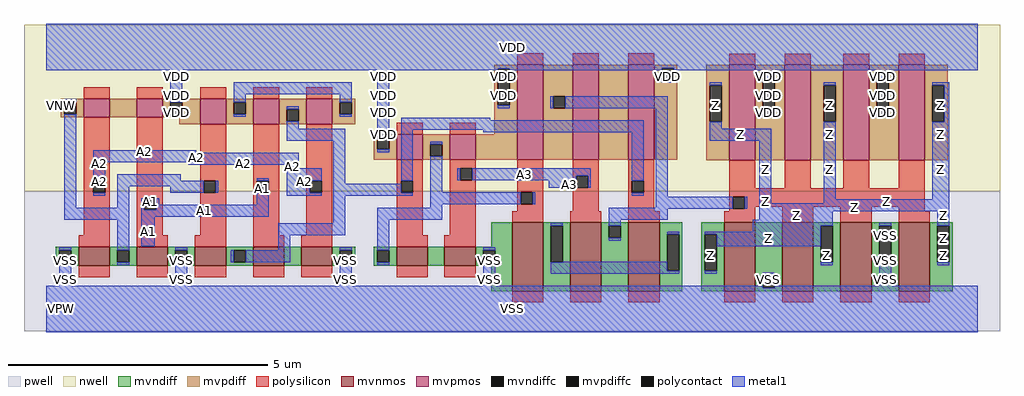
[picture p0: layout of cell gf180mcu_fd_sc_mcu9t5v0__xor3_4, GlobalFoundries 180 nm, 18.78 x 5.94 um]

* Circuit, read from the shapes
.subckt gf180mcu_fd_sc_mcu9t5v0__xor3_4 A1 A2 A3 Z VDD VNW VPW VSS
XM1 n1 A2 VSS VPW nfet_06v0 w=0.36u l=0.6u
XM2 VSS A1 n1 VPW nfet_06v0 w=0.36u l=0.6u
XM3 n2 n1 VSS VPW nfet_06v0 w=0.36u l=0.6u
XM4 n3 A1 n2 VPW nfet_06v0 w=0.36u l=0.6u
XM5 VSS A2 n3 VPW nfet_06v0 w=0.36u l=0.6u
XM6 n4 n2 n5 VPW nfet_06v0 w=0.36u l=0.6u
XM7 VSS A3 n4 VPW nfet_06v0 w=0.36u l=0.6u
XM8 n6 n5 VSS VPW nfet_06v0 w=1.32u l=0.6u
XM9 n7 A3 n6 VPW nfet_06v0 w=1.32u l=0.6u
XM10 n6 n2 n7 VPW nfet_06v0 w=1.32u l=0.6u
XM11 VSS n7 Z VPW nfet_06v0 w=1.32u l=0.6u m=4
XM12 n8 A2 n1 VNW pfet_06v0 w=0.36u l=0.5u
XM13 VDD A1 n8 VNW pfet_06v0 w=0.36u l=0.5u
XM14 n9 n1 VDD VNW pfet_06v0 w=0.495u l=0.5u
XM15 n2 A1 n9 VNW pfet_06v0 w=0.495u l=0.5u
XM16 n9 A2 n2 VNW pfet_06v0 w=0.495u l=0.5u
XM17 n5 n2 VDD VNW pfet_06v0 w=0.495u l=0.5u
XM18 VDD A3 n5 VNW pfet_06v0 w=0.495u l=0.5u
XM19 n7 n5 VDD VNW pfet_06v0 w=1.83u l=0.5u
XM20 n10 A3 n7 VNW pfet_06v0 w=1.83u l=0.5u
XM21 VDD n2 n10 VNW pfet_06v0 w=1.83u l=0.5u
XM22 VDD n7 Z VNW pfet_06v0 w=1.83u l=0.5u m=4
.ends

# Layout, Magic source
magic
tech gf180mcuD
magscale 1 10
<< nwell >>
rect -86 453 3670 1094
<< pwell >>
rect -86 -86 3670 453
<< mvnmos >>
rect 124 167 244 239
rect 348 167 468 239
rect 572 167 692 239
rect 796 167 916 239
rect 980 167 1100 239
rect 1348 167 1468 239
rect 1532 167 1652 239
rect 1792 69 1912 333
rect 2016 69 2136 333
rect 2240 69 2360 333
rect 2608 69 2728 333
rect 2832 69 2952 333
rect 3056 69 3176 333
rect 3280 69 3400 333
<< mvpmos >>
rect 144 737 244 809
rect 348 737 448 809
rect 592 710 692 809
rect 796 710 896 809
rect 1000 710 1100 809
rect 1348 574 1448 673
rect 1552 574 1652 673
rect 1812 574 1912 940
rect 2026 574 2126 940
rect 2240 574 2340 940
rect 2628 573 2728 939
rect 2842 573 2942 939
rect 3066 573 3166 939
rect 3280 573 3380 939
<< mvndiff >>
rect 1712 239 1792 333
rect 36 226 124 239
rect 36 180 49 226
rect 95 180 124 226
rect 36 167 124 180
rect 244 226 348 239
rect 244 180 273 226
rect 319 180 348 226
rect 244 167 348 180
rect 468 226 572 239
rect 468 180 497 226
rect 543 180 572 226
rect 468 167 572 180
rect 692 226 796 239
rect 692 180 721 226
rect 767 180 796 226
rect 692 167 796 180
rect 916 167 980 239
rect 1100 226 1188 239
rect 1100 180 1129 226
rect 1175 180 1188 226
rect 1100 167 1188 180
rect 1260 226 1348 239
rect 1260 180 1273 226
rect 1319 180 1348 226
rect 1260 167 1348 180
rect 1468 167 1532 239
rect 1652 226 1792 239
rect 1652 180 1681 226
rect 1727 180 1792 226
rect 1652 167 1792 180
rect 1712 69 1792 167
rect 1912 320 2016 333
rect 1912 180 1941 320
rect 1987 180 2016 320
rect 1912 69 2016 180
rect 2136 320 2240 333
rect 2136 274 2165 320
rect 2211 274 2240 320
rect 2136 69 2240 274
rect 2360 287 2448 333
rect 2360 147 2389 287
rect 2435 147 2448 287
rect 2360 69 2448 147
rect 2520 287 2608 333
rect 2520 147 2533 287
rect 2579 147 2608 287
rect 2520 69 2608 147
rect 2728 128 2832 333
rect 2728 82 2757 128
rect 2803 82 2832 128
rect 2728 69 2832 82
rect 2952 320 3056 333
rect 2952 180 2981 320
rect 3027 180 3056 320
rect 2952 69 3056 180
rect 3176 320 3280 333
rect 3176 180 3205 320
rect 3251 180 3280 320
rect 3176 69 3280 180
rect 3400 320 3488 333
rect 3400 180 3429 320
rect 3475 180 3488 320
rect 3400 69 3488 180
<< mvpdiff >>
rect 1724 924 1812 940
rect 56 796 144 809
rect 56 750 69 796
rect 115 750 144 796
rect 56 737 144 750
rect 244 737 348 809
rect 448 796 592 809
rect 448 750 477 796
rect 523 750 592 796
rect 448 737 592 750
rect 512 710 592 737
rect 692 796 796 809
rect 692 750 721 796
rect 767 750 796 796
rect 692 710 796 750
rect 896 769 1000 809
rect 896 723 925 769
rect 971 723 1000 769
rect 896 710 1000 723
rect 1100 796 1188 809
rect 1100 750 1129 796
rect 1175 750 1188 796
rect 1100 710 1188 750
rect 1724 784 1737 924
rect 1783 784 1812 924
rect 1724 673 1812 784
rect 1260 660 1348 673
rect 1260 614 1273 660
rect 1319 614 1348 660
rect 1260 574 1348 614
rect 1448 633 1552 673
rect 1448 587 1477 633
rect 1523 587 1552 633
rect 1448 574 1552 587
rect 1652 574 1812 673
rect 1912 819 2026 940
rect 1912 773 1951 819
rect 1997 773 2026 819
rect 1912 574 2026 773
rect 2126 574 2240 940
rect 2340 927 2428 940
rect 2340 881 2369 927
rect 2415 881 2428 927
rect 2340 574 2428 881
rect 2540 861 2628 939
rect 2540 721 2553 861
rect 2599 721 2628 861
rect 2540 573 2628 721
rect 2728 890 2842 939
rect 2728 750 2757 890
rect 2803 750 2842 890
rect 2728 573 2842 750
rect 2942 861 3066 939
rect 2942 721 2991 861
rect 3037 721 3066 861
rect 2942 573 3066 721
rect 3166 890 3280 939
rect 3166 750 3195 890
rect 3241 750 3280 890
rect 3166 573 3280 750
rect 3380 861 3468 939
rect 3380 721 3409 861
rect 3455 721 3468 861
rect 3380 573 3468 721
<< mvndiffc >>
rect 49 180 95 226
rect 273 180 319 226
rect 497 180 543 226
rect 721 180 767 226
rect 1129 180 1175 226
rect 1273 180 1319 226
rect 1681 180 1727 226
rect 1941 180 1987 320
rect 2165 274 2211 320
rect 2389 147 2435 287
rect 2533 147 2579 287
rect 2757 82 2803 128
rect 2981 180 3027 320
rect 3205 180 3251 320
rect 3429 180 3475 320
<< mvpdiffc >>
rect 69 750 115 796
rect 477 750 523 796
rect 721 750 767 796
rect 925 723 971 769
rect 1129 750 1175 796
rect 1737 784 1783 924
rect 1273 614 1319 660
rect 1477 587 1523 633
rect 1951 773 1997 819
rect 2369 881 2415 927
rect 2553 721 2599 861
rect 2757 750 2803 890
rect 2991 721 3037 861
rect 3195 750 3241 890
rect 3409 721 3455 861
<< polysilicon >>
rect 1812 940 1912 984
rect 2026 940 2126 984
rect 2240 940 2340 984
rect 144 809 244 853
rect 348 809 448 853
rect 592 809 692 853
rect 796 809 896 853
rect 1000 809 1100 853
rect 144 493 244 737
rect 144 447 181 493
rect 227 447 244 493
rect 144 283 244 447
rect 124 239 244 283
rect 348 427 448 737
rect 348 381 377 427
rect 423 381 448 427
rect 348 283 448 381
rect 592 493 692 710
rect 592 447 605 493
rect 651 447 692 493
rect 592 283 692 447
rect 348 239 468 283
rect 572 239 692 283
rect 796 493 896 710
rect 796 447 809 493
rect 855 447 896 493
rect 796 283 896 447
rect 1000 493 1100 710
rect 1348 673 1448 717
rect 1552 673 1652 717
rect 2628 939 2728 983
rect 2842 939 2942 983
rect 3066 939 3166 983
rect 3280 939 3380 983
rect 1000 447 1013 493
rect 1059 447 1100 493
rect 1000 283 1100 447
rect 796 239 916 283
rect 980 239 1100 283
rect 1348 493 1448 574
rect 1348 447 1365 493
rect 1411 447 1448 493
rect 1348 283 1448 447
rect 1552 541 1652 574
rect 1552 495 1593 541
rect 1639 495 1652 541
rect 1552 283 1652 495
rect 1812 449 1912 574
rect 1812 403 1825 449
rect 1871 403 1912 449
rect 1812 377 1912 403
rect 2026 512 2126 574
rect 2026 466 2039 512
rect 2085 466 2126 512
rect 2026 377 2126 466
rect 2240 493 2340 574
rect 2240 447 2253 493
rect 2299 447 2340 493
rect 2240 377 2340 447
rect 2628 465 2728 573
rect 2842 465 2942 573
rect 3066 465 3166 573
rect 3280 465 3380 573
rect 2628 432 3380 465
rect 2628 386 2641 432
rect 2687 393 3380 432
rect 2687 386 2728 393
rect 2628 377 2728 386
rect 1792 333 1912 377
rect 2016 333 2136 377
rect 2240 333 2360 377
rect 2608 333 2728 377
rect 2832 333 2952 393
rect 3056 333 3176 393
rect 3280 377 3380 393
rect 3280 333 3400 377
rect 1348 239 1468 283
rect 1532 239 1652 283
rect 124 123 244 167
rect 348 123 468 167
rect 572 123 692 167
rect 796 123 916 167
rect 980 123 1100 167
rect 1348 123 1468 167
rect 1532 123 1652 167
rect 1792 25 1912 69
rect 2016 25 2136 69
rect 2240 25 2360 69
rect 2608 25 2728 69
rect 2832 25 2952 69
rect 3056 25 3176 69
rect 3280 25 3400 69
<< polycontact >>
rect 181 447 227 493
rect 377 381 423 427
rect 605 447 651 493
rect 809 447 855 493
rect 1013 447 1059 493
rect 1365 447 1411 493
rect 1593 495 1639 541
rect 1825 403 1871 449
rect 2039 466 2085 512
rect 2253 447 2299 493
rect 2641 386 2687 432
<< metal1 >>
rect 0 927 3584 1098
rect 0 924 2369 927
rect 0 918 1737 924
rect 69 796 115 807
rect 69 390 115 750
rect 477 796 523 918
rect 477 739 523 750
rect 721 826 1175 872
rect 721 796 767 826
rect 1129 796 1175 826
rect 721 739 767 750
rect 925 769 971 780
rect 1129 739 1175 750
rect 925 693 971 723
rect 925 647 1151 693
rect 181 601 576 611
rect 181 565 972 601
rect 181 493 227 565
rect 547 555 972 565
rect 926 542 972 555
rect 181 436 227 447
rect 273 493 518 519
rect 809 493 855 504
rect 273 473 605 493
rect 273 390 319 473
rect 476 447 605 473
rect 651 447 662 493
rect 69 344 319 390
rect 49 226 95 237
rect 49 90 95 180
rect 273 226 319 344
rect 366 381 377 427
rect 423 401 434 427
rect 809 401 855 447
rect 926 493 1059 542
rect 926 447 1013 493
rect 926 436 1059 447
rect 1105 482 1151 647
rect 1273 660 1319 918
rect 1783 918 2369 924
rect 2415 918 3584 927
rect 2369 870 2415 881
rect 2757 890 2803 918
rect 2553 861 2599 872
rect 1737 773 1783 784
rect 1940 773 1951 819
rect 1997 773 2391 819
rect 1273 603 1319 614
rect 1365 727 1709 736
rect 1365 690 2299 727
rect 1365 493 1411 690
rect 1681 681 2299 690
rect 1105 447 1365 482
rect 1105 436 1411 447
rect 1477 633 1523 644
rect 1477 449 1523 587
rect 1582 541 2096 542
rect 1582 495 1593 541
rect 1639 512 2096 541
rect 1639 495 2039 512
rect 1934 466 2039 495
rect 2085 466 2096 512
rect 2253 493 2299 681
rect 423 381 855 401
rect 366 355 855 381
rect 366 242 418 355
rect 1105 329 1151 436
rect 1477 403 1825 449
rect 1871 403 1882 449
rect 2253 436 2299 447
rect 2345 432 2391 773
rect 3195 890 3241 918
rect 2757 739 2803 750
rect 2991 861 3037 872
rect 2553 693 2599 721
rect 3195 739 3241 750
rect 3409 861 3475 872
rect 2553 647 2790 693
rect 1477 390 1523 403
rect 2345 390 2641 432
rect 893 283 1151 329
rect 1273 344 1523 390
rect 2165 386 2641 390
rect 2687 386 2698 432
rect 2744 406 2790 647
rect 2991 423 3037 721
rect 3455 721 3475 861
rect 3409 423 3475 721
rect 2991 406 3475 423
rect 2165 344 2391 386
rect 2744 377 3475 406
rect 2744 344 3027 377
rect 273 169 319 180
rect 497 226 543 237
rect 893 226 939 283
rect 710 180 721 226
rect 767 180 939 226
rect 1129 226 1175 237
rect 497 90 543 180
rect 1129 90 1175 180
rect 1273 226 1319 344
rect 1941 320 1987 331
rect 1273 169 1319 180
rect 1681 226 1727 237
rect 1681 90 1727 180
rect 2165 320 2211 344
rect 2718 320 3027 344
rect 2718 298 2981 320
rect 2165 263 2211 274
rect 2389 287 2435 298
rect 1987 180 2389 182
rect 1941 147 2389 180
rect 1941 136 2435 147
rect 2533 287 2981 298
rect 2579 242 2981 287
rect 2981 169 3027 180
rect 3205 320 3251 331
rect 2533 136 2579 147
rect 2757 128 2803 139
rect 0 82 2757 90
rect 3205 90 3251 180
rect 3429 320 3475 377
rect 3429 169 3475 180
rect 2803 82 3584 90
rect 0 -90 3584 82
<< labels >>
flabel metal1 s 809 427 855 504 0 FreeSans 200 0 0 0 A1
port 1 nsew default input
flabel metal1 s 181 601 576 611 0 FreeSans 200 0 0 0 A2
port 2 nsew default input
flabel metal1 s 1582 495 2096 542 0 FreeSans 200 0 0 0 A3
port 3 nsew default input
flabel metal1 s 0 918 3584 1098 0 FreeSans 200 0 0 0 VDD
port 5 nsew power bidirectional abutment
flabel metal1 s 3205 237 3251 331 0 FreeSans 200 0 0 0 VSS
port 8 nsew ground bidirectional abutment
flabel metal1 s 3409 693 3475 872 0 FreeSans 200 0 0 0 Z
port 4 nsew default output
flabel nwell s 10 734 110 834 0 FreeSans 400 0 0 0 VNW
port 6 nsew power bidirectional
flabel pwell s 10 -50 110 50 0 FreeSans 400 0 0 0 VPW
port 7 nsew ground bidirectional
rlabel metal1 s 809 401 855 427 1 A1
port 1 nsew default input
rlabel metal1 s 366 401 434 427 1 A1
port 1 nsew default input
rlabel metal1 s 366 355 855 401 1 A1
port 1 nsew default input
rlabel metal1 s 366 242 418 355 1 A1
port 1 nsew default input
rlabel metal1 s 181 565 972 601 1 A2
port 2 nsew default input
rlabel metal1 s 547 555 972 565 1 A2
port 2 nsew default input
rlabel metal1 s 181 555 227 565 1 A2
port 2 nsew default input
rlabel metal1 s 926 542 972 555 1 A2
port 2 nsew default input
rlabel metal1 s 181 542 227 555 1 A2
port 2 nsew default input
rlabel metal1 s 926 436 1059 542 1 A2
port 2 nsew default input
rlabel metal1 s 181 436 227 542 1 A2
port 2 nsew default input
rlabel metal1 s 1934 466 2096 495 1 A3
port 3 nsew default input
rlabel metal1 s 2991 693 3037 872 1 Z
port 4 nsew default output
rlabel metal1 s 2553 693 2599 872 1 Z
port 4 nsew default output
rlabel metal1 s 3409 647 3475 693 1 Z
port 4 nsew default output
rlabel metal1 s 2991 647 3037 693 1 Z
port 4 nsew default output
rlabel metal1 s 2553 647 2790 693 1 Z
port 4 nsew default output
rlabel metal1 s 3409 423 3475 647 1 Z
port 4 nsew default output
rlabel metal1 s 2991 423 3037 647 1 Z
port 4 nsew default output
rlabel metal1 s 2744 423 2790 647 1 Z
port 4 nsew default output
rlabel metal1 s 2991 406 3475 423 1 Z
port 4 nsew default output
rlabel metal1 s 2744 406 2790 423 1 Z
port 4 nsew default output
rlabel metal1 s 2744 377 3475 406 1 Z
port 4 nsew default output
rlabel metal1 s 3429 344 3475 377 1 Z
port 4 nsew default output
rlabel metal1 s 2744 344 3027 377 1 Z
port 4 nsew default output
rlabel metal1 s 3429 298 3475 344 1 Z
port 4 nsew default output
rlabel metal1 s 2718 298 3027 344 1 Z
port 4 nsew default output
rlabel metal1 s 3429 242 3475 298 1 Z
port 4 nsew default output
rlabel metal1 s 2533 242 3027 298 1 Z
port 4 nsew default output
rlabel metal1 s 3429 169 3475 242 1 Z
port 4 nsew default output
rlabel metal1 s 2981 169 3027 242 1 Z
port 4 nsew default output
rlabel metal1 s 2533 169 2579 242 1 Z
port 4 nsew default output
rlabel metal1 s 2533 136 2579 169 1 Z
port 4 nsew default output
rlabel metal1 s 3195 870 3241 918 1 VDD
port 5 nsew power bidirectional abutment
rlabel metal1 s 2757 870 2803 918 1 VDD
port 5 nsew power bidirectional abutment
rlabel metal1 s 2369 870 2415 918 1 VDD
port 5 nsew power bidirectional abutment
rlabel metal1 s 1737 870 1783 918 1 VDD
port 5 nsew power bidirectional abutment
rlabel metal1 s 1273 870 1319 918 1 VDD
port 5 nsew power bidirectional abutment
rlabel metal1 s 477 870 523 918 1 VDD
port 5 nsew power bidirectional abutment
rlabel metal1 s 3195 773 3241 870 1 VDD
port 5 nsew power bidirectional abutment
rlabel metal1 s 2757 773 2803 870 1 VDD
port 5 nsew power bidirectional abutment
rlabel metal1 s 1737 773 1783 870 1 VDD
port 5 nsew power bidirectional abutment
rlabel metal1 s 1273 773 1319 870 1 VDD
port 5 nsew power bidirectional abutment
rlabel metal1 s 477 773 523 870 1 VDD
port 5 nsew power bidirectional abutment
rlabel metal1 s 3195 739 3241 773 1 VDD
port 5 nsew power bidirectional abutment
rlabel metal1 s 2757 739 2803 773 1 VDD
port 5 nsew power bidirectional abutment
rlabel metal1 s 1273 739 1319 773 1 VDD
port 5 nsew power bidirectional abutment
rlabel metal1 s 477 739 523 773 1 VDD
port 5 nsew power bidirectional abutment
rlabel metal1 s 1273 603 1319 739 1 VDD
port 5 nsew power bidirectional abutment
rlabel metal1 s 3205 139 3251 237 1 VSS
port 8 nsew ground bidirectional abutment
rlabel metal1 s 1681 139 1727 237 1 VSS
port 8 nsew ground bidirectional abutment
rlabel metal1 s 1129 139 1175 237 1 VSS
port 8 nsew ground bidirectional abutment
rlabel metal1 s 497 139 543 237 1 VSS
port 8 nsew ground bidirectional abutment
rlabel metal1 s 49 139 95 237 1 VSS
port 8 nsew ground bidirectional abutment
rlabel metal1 s 3205 90 3251 139 1 VSS
port 8 nsew ground bidirectional abutment
rlabel metal1 s 2757 90 2803 139 1 VSS
port 8 nsew ground bidirectional abutment
rlabel metal1 s 1681 90 1727 139 1 VSS
port 8 nsew ground bidirectional abutment
rlabel metal1 s 1129 90 1175 139 1 VSS
port 8 nsew ground bidirectional abutment
rlabel metal1 s 497 90 543 139 1 VSS
port 8 nsew ground bidirectional abutment
rlabel metal1 s 49 90 95 139 1 VSS
port 8 nsew ground bidirectional abutment
rlabel metal1 s 0 -90 3584 90 1 VSS
port 8 nsew ground bidirectional abutment
<< properties >>
string FIXED_BBOX 0 0 3584 1008
string GDS_END 521364
string GDS_FILE $PDKPATH/libs.ref/gf180mcu_fd_sc_mcu9t5v0/gds/gf180mcu_fd_sc_mcu9t5v0.gds
string GDS_START 513154
string LEFclass core
string LEFsite GF018hv5v_green_sc9
string LEFsymmetry X Y
<< end >>
